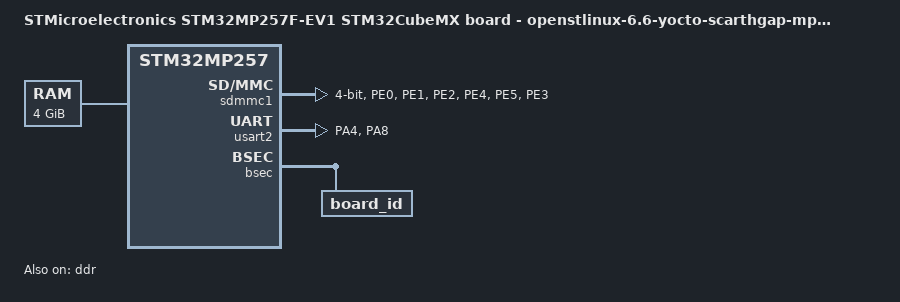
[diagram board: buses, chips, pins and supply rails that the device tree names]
/dts-v1/;
#include <dt-bindings/pinctrl/stm32-pinfunc.h>
#include <dt-bindings/clock/stm32mp25-clksrc.h>
#include "stm32mp25-mx.dtsi"
#include "stm32mp257.dtsi"
#include "stm32mp25xf.dtsi"
#include "stm32mp257f-board_257f-ev1_m33td-mx-rcc.dtsi"
#include "stm32mp25-ddr.dtsi"

/* USER CODE BEGIN includes */
/* USER CODE END includes */

/{
	model = "STMicroelectronics STM32MP257F-EV1 STM32CubeMX board - openstlinux-6.6-yocto-scarthgap-mpu-v25.01.03";
	compatible = "st,stm32mp257f-board_257f-ev1_m33td-mx", "st,stm32mp257f-ev1", "st,stm32mp257";

	/* USER CODE BEGIN root */

	aliases{
		serial0 = &usart2;
	};

	chosen{
		stdout-path = "serial0:115200n8";
	};

	cpu0_opp_table:cpu0-opp-table{
		compatible = "operating-points-v2";

		opp-1200000000{
			opp-hz = /bits/ 64 <1200000000>;
			opp-microvolt = <800000>;
			opp-supported-hw = <0x3>;
			st,opp-default;
			st,pll = <&pll1_cfg_1200MHz>;
		};

		opp-1500000000{
			opp-hz = /bits/ 64 <1500000000>;
			opp-microvolt = <910000>;
			opp-supported-hw = <0x2>;
			st,pll = <&pll1_cfg_1500MHz>;
		};
	};
	/* USER CODE END root */

	memory@80000000{
		device_type = "memory";
		reg = <0x0 0x80000000 0x00000001 0x00000000>;
	};
};

&pinctrl {

	sdmmc1_pins_mx:sdmmc1_mx-0{

		pins1{
			pinmux = <STM32_PINMUX('E', 0, AF10)>,
					<STM32_PINMUX('E', 1, AF10)>,
					<STM32_PINMUX('E', 2, AF10)>,
					<STM32_PINMUX('E', 4, AF10)>,
					<STM32_PINMUX('E', 5, AF10)>;
			bias-disable;
			drive-push-pull;
			slew-rate = <2>;
		};

		pins2{
			pinmux = <STM32_PINMUX('E', 3, AF10)>;
			bias-disable;
			drive-push-pull;
			slew-rate = <3>;
		};
	};

	usart2_pins_mx:usart2_mx-0{

		pins1{
			pinmux = <STM32_PINMUX('A', 4, AF6)>;
			bias-disable;
			drive-push-pull;
			slew-rate = <0>;
		};

		pins2{
			pinmux = <STM32_PINMUX('A', 8, AF8)>;
			bias-disable;
			drive-push-pull;
		};
	};
	
	/* USER CODE BEGIN pinctrl */
	/* USER CODE END pinctrl */
};

&pinctrl_z {
	/* USER CODE BEGIN pinctrl_z */
	/* USER CODE END pinctrl_z */
};

&ddr {
	status = "okay";
};

&rcc {
	status = "okay";
};

&sdmmc1 {
	pinctrl-names = "default";
	pinctrl-0 = <&sdmmc1_pins_mx>;
	status = "okay";

	/* USER CODE BEGIN sdmmc1 */
	st,neg-edge;
	bus-width = <4>;
	/* USER CODE END sdmmc1 */
};

&usart2 {
	pinctrl-names = "default";
	pinctrl-0 = <&usart2_pins_mx>;
	status = "okay";
};

/* USER CODE BEGIN addons */

&bsec {

	board_id:board_id@3d8{
		reg = <0x3d8 0x4>;
	};
};

&cpu0 {
	operating-points-v2 = <&cpu0_opp_table>;
};
/* USER CODE END addons */
